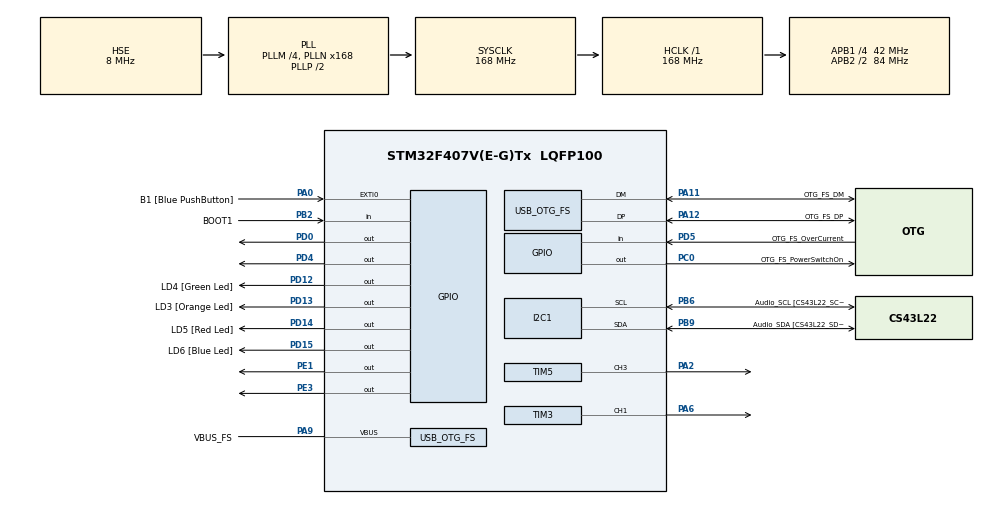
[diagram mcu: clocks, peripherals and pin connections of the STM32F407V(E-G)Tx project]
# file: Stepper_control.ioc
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Mcu.Family=STM32F4
Mcu.Name=STM32F407V(E-G)Tx
Mcu.Package=LQFP100
NVIC.OTG_FS_IRQn=true\:0\:0\:false\:false\:true\:true\:true
NVIC.PriorityGroup=NVIC_PRIORITYGROUP_0
NVIC.TIM1_UP_TIM10_IRQn=true\:0\:0\:false\:false\:true\:true\:true
NVIC.TIM3_IRQn=true\:0\:0\:false\:false\:true\:true\:true
NVIC.TIM5_IRQn=true\:0\:0\:false\:false\:true\:true\:true
PA0-WKUP.GPIO_Label=B1 [Blue PushButton]
PA0-WKUP.GPIO_ModeDefaultEXTI=GPIO_MODE_EVT_RISING
PA0-WKUP.GPIO_PuPd=GPIO_NOPULL
PA0-WKUP.Signal=GPXTI0
PA10.GPIO_Label=OTG_FS_ID
PA10.GPIO_Mode=GPIO_MODE_AF_PP
PA10.GPIO_PuPd=GPIO_NOPULL
PA10.GPIO_Speed=GPIO_SPEED_FREQ_LOW
PA10.Signal=USB_OTG_FS_ID
PA11.GPIO_Label=OTG_FS_DM
PA11.GPIO_Mode=GPIO_MODE_AF_PP
PA11.GPIO_PuPd=GPIO_NOPULL
PA11.GPIO_Speed=GPIO_SPEED_FREQ_LOW
PA11.Mode=Host_Only
PA11.Signal=USB_OTG_FS_DM
PA12.GPIO_Label=OTG_FS_DP
PA12.GPIO_Mode=GPIO_MODE_AF_PP
PA12.GPIO_PuPd=GPIO_NOPULL
PA12.GPIO_Speed=GPIO_SPEED_FREQ_LOW
PA12.Mode=Host_Only
PA12.Signal=USB_OTG_FS_DP
PA13.GPIO_Label=SWDIO
PA13.Mode=Serial_Wire
PA13.Signal=SYS_JTMS-SWDIO
PA14.GPIO_Label=SWCLK
PA14.Mode=Serial_Wire
PA14.Signal=SYS_JTCK-SWCLK
PA2.Signal=S_TIM5_CH3
PA4.GPIO_Label=I2S3_WS [CS43L22_LRCK]
PA4.GPIO_Mode=GPIO_MODE_AF_PP
PA4.GPIO_PuPd=GPIO_NOPULL
PA4.GPIO_Speed=GPIO_SPEED_FREQ_LOW
PA4.Signal=I2S3_WS
PA6.Signal=S_TIM3_CH1
PA9.GPIO_Label=VBUS_FS
PA9.GPIO_Mode=GPIO_MODE_INPUT
PA9.GPIO_PuPd=GPIO_NOPULL
PA9.Mode=Activate_VBUS
PA9.Signal=USB_OTG_FS_VBUS
PB10.GPIO_Label=CLK_IN [MP45DT02_CLK]
PB10.GPIO_Mode=GPIO_MODE_AF_PP
PB10.GPIO_PuPd=GPIO_NOPULL
PB10.GPIO_Speed=GPIO_SPEED_FREQ_LOW
PB10.Signal=I2S2_CK
PB2.GPIO_Label=BOOT1
PB2.GPIO_Mode=GPIO_MODE_INPUT
PB2.GPIO_PuPd=GPIO_NOPULL
PB2.Signal=GPIO_Input
PB3.GPIO_Label=SWO
PB3.Signal=SYS_JTDO-SWO
PB6.GPIO_Label=Audio_SCL [CS43L22_SCL]
PB6.GPIO_Mode=GPIO_MODE_AF_OD
PB6.GPIO_PuPd=GPIO_NOPULL
PB6.GPIO_Speed=GPIO_SPEED_FREQ_LOW
PB6.Mode=I2C
PB6.Signal=I2C1_SCL
PB9.GPIO_Label=Audio_SDA [CS43L22_SDA]
PB9.GPIO_Mode=GPIO_MODE_AF_OD
PB9.GPIO_PuPd=GPIO_NOPULL
PB9.GPIO_Speed=GPIO_SPEED_FREQ_LOW
PB9.Mode=I2C
PB9.Signal=I2C1_SDA
PC0.GPIO_Label=OTG_FS_PowerSwitchOn
PC0.GPIO_PuPd=GPIO_NOPULL
PC0.GPIO_Speed=GPIO_SPEED_FREQ_LOW
PC0.PinState=GPIO_PIN_SET
PC0.Signal=GPIO_Output
PC10.GPIO_Label=I2S3_SCK [CS43L22_SCLK]
PC10.GPIO_Mode=GPIO_MODE_AF_PP
PC10.GPIO_PuPd=GPIO_NOPULL
PC10.GPIO_Speed=GPIO_SPEED_FREQ_LOW
PC10.Signal=I2S3_CK
PC12.GPIO_Label=I2S3_SD [CS43L22_SDIN]
PC12.GPIO_Mode=GPIO_MODE_AF_PP
PC12.GPIO_PuPd=GPIO_NOPULL
PC12.GPIO_Speed=GPIO_SPEED_FREQ_LOW
PC12.Signal=I2S3_SD
PC14-OSC32_IN.GPIO_Label=PC14-OSC32_IN
PC14-OSC32_IN.Mode=LSE-External-Oscillator
PC14-OSC32_IN.Signal=RCC_OSC32_IN
PC15-OSC32_OUT.GPIO_Label=PC15-OSC32_OUT
PC15-OSC32_OUT.Mode=LSE-External-Oscillator
PC15-OSC32_OUT.Signal=RCC_OSC32_OUT
PC3.GPIO_Label=PDM_OUT [MP45DT02_DOUT]
PC3.GPIO_Mode=GPIO_MODE_AF_PP
PC3.GPIO_PuPd=GPIO_NOPULL
PC3.GPIO_Speed=GPIO_SPEED_FREQ_LOW
PC3.Signal=I2S2_SD
PC7.GPIO_Label=I2S3_MCK [CS43L22_MCLK]
PC7.GPIO_Mode=GPIO_MODE_AF_PP
PC7.GPIO_PuPd=GPIO_NOPULL
PC7.GPIO_Speed=GPIO_SPEED_FREQ_LOW
PC7.Signal=I2S3_MCK
PD0.Signal=GPIO_Output
PD12.GPIO_Label=LD4 [Green Led]
PD12.GPIO_PuPd=GPIO_NOPULL
PD12.GPIO_Speed=GPIO_SPEED_FREQ_LOW
PD12.Signal=GPIO_Output
PD13.GPIO_Label=LD3 [Orange Led]
PD13.GPIO_PuPd=GPIO_NOPULL
PD13.GPIO_Speed=GPIO_SPEED_FREQ_LOW
PD13.Signal=GPIO_Output
PD14.GPIO_Label=LD5 [Red Led]
PD14.GPIO_PuPd=GPIO_NOPULL
PD14.GPIO_Speed=GPIO_SPEED_FREQ_LOW
PD14.Signal=GPIO_Output
PD15.GPIO_Label=LD6 [Blue Led]
PD15.GPIO_PuPd=GPIO_NOPULL
PD15.GPIO_Speed=GPIO_SPEED_FREQ_LOW
PD15.Signal=GPIO_Output
PD4.Signal=GPIO_Output
PD5.GPIO_Label=OTG_FS_OverCurrent
PD5.GPIO_Mode=GPIO_MODE_INPUT
PD5.GPIO_PuPd=GPIO_NOPULL
PD5.Signal=GPIO_Input
PE1.Signal=GPIO_Output
PE3.Signal=GPIO_Output
PH0-OSC_IN.GPIO_Label=PH0-OSC_IN
PH0-OSC_IN.Mode=HSE-External-Oscillator
PH0-OSC_IN.Signal=RCC_OSC_IN
PH1-OSC_OUT.GPIO_Label=PH1-OSC_OUT
PH1-OSC_OUT.Mode=HSE-External-Oscillator
PH1-OSC_OUT.Signal=RCC_OSC_OUT
ProjectManager.HeapSize=0x200
ProjectManager.StackSize=0x400
ProjectManager.TargetToolchain=STM32CubeIDE
RCC.48MHZClocksFreq_Value=48000000
RCC.AHBFreq_Value=168000000
RCC.APB1CLKDivider=RCC_HCLK_DIV4
RCC.APB1Freq_Value=42000000
RCC.APB1TimFreq_Value=84000000
RCC.APB2CLKDivider=RCC_HCLK_DIV2
RCC.APB2Freq_Value=84000000
RCC.APB2TimFreq_Value=168000000
RCC.CortexFreq_Value=168000000
RCC.HCLKFreq_Value=168000000
RCC.HSE_VALUE=8000000
RCC.HSI_VALUE=16000000
RCC.PLLI2SN=50
RCC.PLLM=4
RCC.PLLN=168
RCC.PLLQ=7
RCC.SYSCLKFreq_VALUE=168000000
RCC.SYSCLKSource=RCC_SYSCLKSOURCE_PLLCLK
RCC.VCOOutputFreq_Value=336000000
SH.S_TIM3_CH1.0=TIM3_CH1,PWM Generation1 CH1
SH.S_TIM5_CH3.0=TIM5_CH3,PWM Generation3 CH3
TIM1.Period=1000
TIM1.Prescaler=83
TIM3.Channel-PWM\ Generation1\ CH1=TIM_CHANNEL_1
TIM5.Channel-PWM\ Generation3\ CH3=TIM_CHANNEL_3
TIM5.Period=1000
TIM5.Prescaler=83
USB_HOST.BSP.number=1
USB_HOST.USBH_HandleTypeDef-CDC_FS=hUsbHostFS
USB_HOST.VirtualModeFS=Cdc
USB_HOST0.BSP.STBoard=false
USB_HOST0.BSP.api=Unknown
USB_HOST0.BSP.i2caddr=0
USB_HOST0.BSP.i2creg=0
USB_HOST0.BSP.instance=PC0
USB_HOST0.BSP.ip=GPIO
USB_HOST0.BSP.mode=Output
USB_HOST0.BSP.name=Drive_VBUS_FS
USB_HOST0.BSP.solution=PC0
USB_OTG_FS.VirtualMode=Host_Only
USB_OTG_FS.phy_itface=HCD_PHY_EMBEDDED
VP_TIM1_VS_ClockSourceINT.Mode=Internal
VP_USB_HOST_VS_USB_HOST_CDC_FS.Mode=CDC_FS
board=STM32F407G-DISC1

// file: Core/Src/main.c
/* USER CODE BEGIN Header */
/**
  ******************************************************************************
  * @file           : main.c
  * @brief          : Main program body
  ******************************************************************************
  * @attention
  *
  * <h2><center>&copy; Copyright (c) 2020 STMicroelectronics.
  * All rights reserved.</center></h2>
  *
  * This software component is licensed by ST under Ultimate Liberty license
  * SLA0044, the "License"; You may not use this file except in compliance with
  * the License. You may obtain a copy of the License at:
  *                             www.st.com/SLA0044
  *
  ******************************************************************************
  */
/* USER CODE END Header */
#include "main.h"
#include "usb_host.h"

I2C_HandleTypeDef hi2c1;

TIM_HandleTypeDef htim1;
TIM_HandleTypeDef htim3;
TIM_HandleTypeDef htim5;

void SystemClock_Config(void);
static void MX_GPIO_Init(void);
static void MX_I2C1_Init(void);
static void MX_TIM3_Init(void);
static void MX_TIM5_Init(void);
static void MX_TIM1_Init(void);
void MX_USB_HOST_Process(void);

/* USER CODE BEGIN 0 */
TIM_OC_InitTypeDef pwmConfig;

void Trap(uint32_t t_amax, uint32_t t_vmax){
	    HAL_GPIO_WritePin(GPIOE, GPIO_PIN_3, GPIO_PIN_SET);//start the step driver
	    HAL_GPIO_WritePin(GPIOE, GPIO_PIN_1, GPIO_PIN_SET);//Clock wise rotation
	    for(int i = 1000; i > 100; i -= 10){
			htim5.Instance->CNT = 0;
			__HAL_TIM_SET_COMPARE(&htim5, TIM_CHANNEL_3, i);
			__HAL_TIM_SET_AUTORELOAD(&htim5, 2*i);
			HAL_Delay(20);
	    }

	    HAL_Delay(t_vmax);

	    for(int i = 100; i < 1000; i += 10){
			htim5.Instance->CNT = 0;
			__HAL_TIM_SET_COMPARE(&htim5, TIM_CHANNEL_3, i);
			__HAL_TIM_SET_AUTORELOAD(&htim5, 2*i);
			HAL_Delay(20);
	    }
}
volatile uint32_t step_count1 = 0;

uint32_t trap_s1 = 250;
uint32_t trap_s2 = 9750;
uint32_t trap_s3 = 10000;

uint32_t a_max = 1;
uint32_t v_max = 50;
volatile uint32_t v_step1 = 1000;
/* USER CODE END 0 */

int main(void)
{

  /* MCU Configuration--------------------------------------------------------*/

  /* Reset of all peripherals, Initializes the Flash interface and the Systick. */
  HAL_Init();

  /* Configure the system clock */
  SystemClock_Config();

  /* Initialize all configured peripherals */
  MX_GPIO_Init();
  MX_I2C1_Init();
  MX_USB_HOST_Init();
  MX_TIM3_Init();
  MX_TIM5_Init();
  MX_TIM1_Init();
  /* USER CODE BEGIN 2 */
  HAL_TIM_PWM_Start_IT(&htim5,TIM_CHANNEL_3);
  HAL_TIM_Base_Start_IT(&htim1);
//  uint32_t PERIOD_VALUE = 1000;
//  pwmConfig.OCMode       = TIM_OCMODE_PWM1;
//  pwmConfig.OCPolarity   = TIM_OCPOLARITY_HIGH;
//  pwmConfig.OCFastMode   = TIM_OCFAST_DISABLE;
//  pwmConfig.OCNPolarity  = TIM_OCNPOLARITY_HIGH;
//  pwmConfig.OCNIdleState = TIM_OCNIDLESTATE_RESET;
//
//  pwmConfig.OCIdleState  = TIM_OCIDLESTATE_RESET;
//  pwmConfig.Pulse = (uint32_t)(PERIOD_VALUE/2);
//
//
//  HAL_TIM_PWM_ConfigChannel(&htim5, &pwmConfig, TIM_CHANNEL_3);
//  HAL_TIM_PWM_Start(&htim5,TIM_CHANNEL_3);
//  __HAL_TIM_SET_COMPARE(&htim5, TIM_CHANNEL_3, 1000);
//  __HAL_TIM_SET_AUTORELOAD(&htim5, 2000);
//  HAL_GPIO_WritePin(GPIOE, GPIO_PIN_3, GPIO_PIN_SET);//start the step driver
//  HAL_GPIO_WritePin(GPIOE, GPIO_PIN_1, GPIO_PIN_SET);//Clock wise rotation
//
//
//  HAL_Delay(1600);
//  HAL_TIM_PWM_Stop(&htim5,TIM_CHANNEL_3);
//  htim5.Instance->ARR = 500;

  /* USER CODE END 2 */

  /* Infinite loop */
  while (1)
  {
    MX_USB_HOST_Process();

    /* USER CODE BEGIN 3 */

    HAL_GPIO_WritePin(GPIOE, GPIO_PIN_3, GPIO_PIN_SET);//start the step driver
    step_count1 = 0;
 	    HAL_GPIO_WritePin(GPIOE, GPIO_PIN_1, GPIO_PIN_SET);//Clock wise rotation

 		htim5.Instance->CNT = 0;
 		__HAL_TIM_SET_COMPARE(&htim5, TIM_CHANNEL_3, v_step1);
 		__HAL_TIM_SET_AUTORELOAD(&htim5, 2*v_step1);

 	    HAL_Delay(1);

//
//    HAL_GPIO_WritePin(GPIOE, GPIO_PIN_1, GPIO_PIN_SET);//Clock wise rotation
//
//
//    HAL_Delay(3200);
//    HAL_TIM_PWM_Stop(&htim5,TIM_CHANNEL_3);
//    		for(int i=1;i<=2000;i++){  //Moving stepper motor forward
//    			HAL_GPIO_WritePin(GPIOA, GPIO_PIN_2, GPIO_PIN_SET);
//    			HAL_Delay(1);
//    			HAL_GPIO_WritePin(GPIOA, GPIO_PIN_2, GPIO_PIN_RESET);
//    			HAL_Delay(1);
//    		}
//    htim5.Instance->CNT = 0;
//    __HAL_TIM_SET_COMPARE(&htim5, TIM_CHANNEL_3, 27);
//    __HAL_TIM_SET_AUTORELOAD(&htim5, 55);
//    	HAL_GPIO_WritePin(GPIOE, GPIO_PIN_1, GPIO_PIN_RESET);//Anti clock wise rotation
//
//    	HAL_Delay(2000);

  }
  /* USER CODE END 3 */
}

void SystemClock_Config(void)
{
  RCC_OscInitTypeDef RCC_OscInitStruct = {0};
  RCC_ClkInitTypeDef RCC_ClkInitStruct = {0};

  /** Configure the main internal regulator output voltage
  */
  __HAL_RCC_PWR_CLK_ENABLE();
  __HAL_PWR_VOLTAGESCALING_CONFIG(PWR_REGULATOR_VOLTAGE_SCALE1);
  /** Initializes the RCC Oscillators according to the specified parameters
  * in the RCC_OscInitTypeDef structure.
  */
  RCC_OscInitStruct.OscillatorType = RCC_OSCILLATORTYPE_HSE;
  RCC_OscInitStruct.HSEState = RCC_HSE_ON;
  RCC_OscInitStruct.PLL.PLLState = RCC_PLL_ON;
  RCC_OscInitStruct.PLL.PLLSource = RCC_PLLSOURCE_HSE;
  RCC_OscInitStruct.PLL.PLLM = 4;
  RCC_OscInitStruct.PLL.PLLN = 168;
  RCC_OscInitStruct.PLL.PLLP = RCC_PLLP_DIV2;
  RCC_OscInitStruct.PLL.PLLQ = 7;
  if (HAL_RCC_OscConfig(&RCC_OscInitStruct) != HAL_OK)
  {
    Error_Handler();
  }
  /** Initializes the CPU, AHB and APB buses clocks
  */
  RCC_ClkInitStruct.ClockType = RCC_CLOCKTYPE_HCLK|RCC_CLOCKTYPE_SYSCLK
                              |RCC_CLOCKTYPE_PCLK1|RCC_CLOCKTYPE_PCLK2;
  RCC_ClkInitStruct.SYSCLKSource = RCC_SYSCLKSOURCE_PLLCLK;
  RCC_ClkInitStruct.AHBCLKDivider = RCC_SYSCLK_DIV1;
  RCC_ClkInitStruct.APB1CLKDivider = RCC_HCLK_DIV4;
  RCC_ClkInitStruct.APB2CLKDivider = RCC_HCLK_DIV2;

  if (HAL_RCC_ClockConfig(&RCC_ClkInitStruct, FLASH_LATENCY_5) != HAL_OK)
  {
    Error_Handler();
  }
}

static void MX_I2C1_Init(void)
{

  hi2c1.Instance = I2C1;
  hi2c1.Init.ClockSpeed = 100000;
  hi2c1.Init.DutyCycle = I2C_DUTYCYCLE_2;
  hi2c1.Init.OwnAddress1 = 0;
  hi2c1.Init.AddressingMode = I2C_ADDRESSINGMODE_7BIT;
  hi2c1.Init.DualAddressMode = I2C_DUALADDRESS_DISABLE;
  hi2c1.Init.OwnAddress2 = 0;
  hi2c1.Init.GeneralCallMode = I2C_GENERALCALL_DISABLE;
  hi2c1.Init.NoStretchMode = I2C_NOSTRETCH_DISABLE;
  if (HAL_I2C_Init(&hi2c1) != HAL_OK)
  {
    Error_Handler();
  }

}

static void MX_TIM1_Init(void)
{

  TIM_ClockConfigTypeDef sClockSourceConfig = {0};
  TIM_MasterConfigTypeDef sMasterConfig = {0};

  htim1.Instance = TIM1;
  htim1.Init.Prescaler = 83;
  htim1.Init.CounterMode = TIM_COUNTERMODE_UP;
  htim1.Init.Period = 1000;
  htim1.Init.ClockDivision = TIM_CLOCKDIVISION_DIV1;
  htim1.Init.RepetitionCounter = 0;
  htim1.Init.AutoReloadPreload = TIM_AUTORELOAD_PRELOAD_DISABLE;
  if (HAL_TIM_Base_Init(&htim1) != HAL_OK)
  {
    Error_Handler();
  }
  sClockSourceConfig.ClockSource = TIM_CLOCKSOURCE_INTERNAL;
  if (HAL_TIM_ConfigClockSource(&htim1, &sClockSourceConfig) != HAL_OK)
  {
    Error_Handler();
  }
  sMasterConfig.MasterOutputTrigger = TIM_TRGO_RESET;
  sMasterConfig.MasterSlaveMode = TIM_MASTERSLAVEMODE_DISABLE;
  if (HAL_TIMEx_MasterConfigSynchronization(&htim1, &sMasterConfig) != HAL_OK)
  {
    Error_Handler();
  }

}

static void MX_TIM3_Init(void)
{

  TIM_MasterConfigTypeDef sMasterConfig = {0};
  TIM_OC_InitTypeDef sConfigOC = {0};

  htim3.Instance = TIM3;
  htim3.Init.Prescaler = 0;
  htim3.Init.CounterMode = TIM_COUNTERMODE_UP;
  htim3.Init.Period = 65535;
  htim3.Init.ClockDivision = TIM_CLOCKDIVISION_DIV1;
  htim3.Init.AutoReloadPreload = TIM_AUTORELOAD_PRELOAD_DISABLE;
  if (HAL_TIM_PWM_Init(&htim3) != HAL_OK)
  {
    Error_Handler();
  }
  sMasterConfig.MasterOutputTrigger = TIM_TRGO_RESET;
  sMasterConfig.MasterSlaveMode = TIM_MASTERSLAVEMODE_DISABLE;
  if (HAL_TIMEx_MasterConfigSynchronization(&htim3, &sMasterConfig) != HAL_OK)
  {
    Error_Handler();
  }
  sConfigOC.OCMode = TIM_OCMODE_PWM1;
  sConfigOC.Pulse = 0;
  sConfigOC.OCPolarity = TIM_OCPOLARITY_HIGH;
  sConfigOC.OCFastMode = TIM_OCFAST_DISABLE;
  if (HAL_TIM_PWM_ConfigChannel(&htim3, &sConfigOC, TIM_CHANNEL_1) != HAL_OK)
  {
    Error_Handler();
  }
  HAL_TIM_MspPostInit(&htim3);

}

static void MX_TIM5_Init(void)
{

  TIM_MasterConfigTypeDef sMasterConfig = {0};
  TIM_OC_InitTypeDef sConfigOC = {0};

  htim5.Instance = TIM5;
  htim5.Init.Prescaler = 83;
  htim5.Init.CounterMode = TIM_COUNTERMODE_UP;
  htim5.Init.Period = 1000;
  htim5.Init.ClockDivision = TIM_CLOCKDIVISION_DIV1;
  htim5.Init.AutoReloadPreload = TIM_AUTORELOAD_PRELOAD_DISABLE;
  if (HAL_TIM_PWM_Init(&htim5) != HAL_OK)
  {
    Error_Handler();
  }
  sMasterConfig.MasterOutputTrigger = TIM_TRGO_RESET;
  sMasterConfig.MasterSlaveMode = TIM_MASTERSLAVEMODE_DISABLE;
  if (HAL_TIMEx_MasterConfigSynchronization(&htim5, &sMasterConfig) != HAL_OK)
  {
    Error_Handler();
  }
  sConfigOC.OCMode = TIM_OCMODE_PWM1;
  sConfigOC.Pulse = 0;
  sConfigOC.OCPolarity = TIM_OCPOLARITY_HIGH;
  sConfigOC.OCFastMode = TIM_OCFAST_DISABLE;
  if (HAL_TIM_PWM_ConfigChannel(&htim5, &sConfigOC, TIM_CHANNEL_3) != HAL_OK)
  {
    Error_Handler();
  }
  HAL_TIM_MspPostInit(&htim5);

}

static void MX_GPIO_Init(void)
{
  GPIO_InitTypeDef GPIO_InitStruct = {0};

  /* GPIO Ports Clock Enable */
  __HAL_RCC_GPIOE_CLK_ENABLE();
  __HAL_RCC_GPIOC_CLK_ENABLE();
  __HAL_RCC_GPIOH_CLK_ENABLE();
  __HAL_RCC_GPIOA_CLK_ENABLE();
  __HAL_RCC_GPIOB_CLK_ENABLE();
  __HAL_RCC_GPIOD_CLK_ENABLE();

  /*Configure GPIO pin Output Level */
  HAL_GPIO_WritePin(GPIOE, GPIO_PIN_3|GPIO_PIN_1, GPIO_PIN_RESET);

  /*Configure GPIO pin Output Level */
  HAL_GPIO_WritePin(OTG_FS_PowerSwitchOn_GPIO_Port, OTG_FS_PowerSwitchOn_Pin, GPIO_PIN_SET);

  /*Configure GPIO pin Output Level */
  HAL_GPIO_WritePin(GPIOD, LD4_Pin|LD3_Pin|LD5_Pin|LD6_Pin
                          |GPIO_PIN_0|GPIO_PIN_4, GPIO_PIN_RESET);

  /*Configure GPIO pins : PE3 PE1 */
  GPIO_InitStruct.Pin = GPIO_PIN_3|GPIO_PIN_1;
  GPIO_InitStruct.Mode = GPIO_MODE_OUTPUT_PP;
  GPIO_InitStruct.Pull = GPIO_NOPULL;
  GPIO_InitStruct.Speed = GPIO_SPEED_FREQ_LOW;
  HAL_GPIO_Init(GPIOE, &GPIO_InitStruct);

  /*Configure GPIO pin : OTG_FS_PowerSwitchOn_Pin */
  GPIO_InitStruct.Pin = OTG_FS_PowerSwitchOn_Pin;
  GPIO_InitStruct.Mode = GPIO_MODE_OUTPUT_PP;
  GPIO_InitStruct.Pull = GPIO_NOPULL;
  GPIO_InitStruct.Speed = GPIO_SPEED_FREQ_LOW;
  HAL_GPIO_Init(OTG_FS_PowerSwitchOn_GPIO_Port, &GPIO_InitStruct);

  /*Configure GPIO pin : PDM_OUT_Pin */
  GPIO_InitStruct.Pin = PDM_OUT_Pin;
  GPIO_InitStruct.Mode = GPIO_MODE_AF_PP;
  GPIO_InitStruct.Pull = GPIO_NOPULL;
  GPIO_InitStruct.Speed = GPIO_SPEED_FREQ_LOW;
  GPIO_InitStruct.Alternate = GPIO_AF5_SPI2;
  HAL_GPIO_Init(PDM_OUT_GPIO_Port, &GPIO_InitStruct);

  /*Configure GPIO pin : B1_Pin */
  GPIO_InitStruct.Pin = B1_Pin;
  GPIO_InitStruct.Mode = GPIO_MODE_EVT_RISING;
  GPIO_InitStruct.Pull = GPIO_NOPULL;
  HAL_GPIO_Init(B1_GPIO_Port, &GPIO_InitStruct);

  /*Configure GPIO pin : I2S3_WS_Pin */
  GPIO_InitStruct.Pin = I2S3_WS_Pin;
  GPIO_InitStruct.Mode = GPIO_MODE_AF_PP;
  GPIO_InitStruct.Pull = GPIO_NOPULL;
  GPIO_InitStruct.Speed = GPIO_SPEED_FREQ_LOW;
  GPIO_InitStruct.Alternate = GPIO_AF6_SPI3;
  HAL_GPIO_Init(I2S3_WS_GPIO_Port, &GPIO_InitStruct);

  /*Configure GPIO pin : BOOT1_Pin */
  GPIO_InitStruct.Pin = BOOT1_Pin;
  GPIO_InitStruct.Mode = GPIO_MODE_INPUT;
  GPIO_InitStruct.Pull = GPIO_NOPULL;
  HAL_GPIO_Init(BOOT1_GPIO_Port, &GPIO_InitStruct);

  /*Configure GPIO pin : CLK_IN_Pin */
  GPIO_InitStruct.Pin = CLK_IN_Pin;
  GPIO_InitStruct.Mode = GPIO_MODE_AF_PP;
  GPIO_InitStruct.Pull = GPIO_NOPULL;
  GPIO_InitStruct.Speed = GPIO_SPEED_FREQ_LOW;
  GPIO_InitStruct.Alternate = GPIO_AF5_SPI2;
  HAL_GPIO_Init(CLK_IN_GPIO_Port, &GPIO_InitStruct);

  /*Configure GPIO pins : LD4_Pin LD3_Pin LD5_Pin LD6_Pin
                           PD0 PD4 */
  GPIO_InitStruct.Pin = LD4_Pin|LD3_Pin|LD5_Pin|LD6_Pin
                          |GPIO_PIN_0|GPIO_PIN_4;
  GPIO_InitStruct.Mode = GPIO_MODE_OUTPUT_PP;
  GPIO_InitStruct.Pull = GPIO_NOPULL;
  GPIO_InitStruct.Speed = GPIO_SPEED_FREQ_LOW;
  HAL_GPIO_Init(GPIOD, &GPIO_InitStruct);

  /*Configure GPIO pins : I2S3_MCK_Pin I2S3_SCK_Pin I2S3_SD_Pin */
  GPIO_InitStruct.Pin = I2S3_MCK_Pin|I2S3_SCK_Pin|I2S3_SD_Pin;
  GPIO_InitStruct.Mode = GPIO_MODE_AF_PP;
  GPIO_InitStruct.Pull = GPIO_NOPULL;
  GPIO_InitStruct.Speed = GPIO_SPEED_FREQ_LOW;
  GPIO_InitStruct.Alternate = GPIO_AF6_SPI3;
  HAL_GPIO_Init(GPIOC, &GPIO_InitStruct);

  /*Configure GPIO pin : OTG_FS_OverCurrent_Pin */
  GPIO_InitStruct.Pin = OTG_FS_OverCurrent_Pin;
  GPIO_InitStruct.Mode = GPIO_MODE_INPUT;
  GPIO_InitStruct.Pull = GPIO_NOPULL;
  HAL_GPIO_Init(OTG_FS_OverCurrent_GPIO_Port, &GPIO_InitStruct);

}

/* USER CODE BEGIN 4 */
void HAL_TIM_PWM_PulseFinishedCallback(TIM_HandleTypeDef *htim5)
{
	step_count1 ++;
}

void HAL_TIM_PeriodElapsedCallback(TIM_HandleTypeDef *htim1){
 if(step_count1 < 10000){
    if(step_count1 < trap_s1){
        v_step1 -= a_max;
    }

    if((step_count1 > trap_s1) & (step_count1 < trap_s2)){
        v_step1 = 50;
    }
    if(step_count1 > trap_s2){
        v_step1 += a_max;
    }
 }
 else{
	 if(step_count1 == 10000){
		 HAL_TIM_PWM_Stop_IT(&htim5,TIM_CHANNEL_3);
	 }
 }
}
/* USER CODE END 4 */

void Error_Handler(void)
{
}

/************************ (C) COPYRIGHT STMicroelectronics *****END OF FILE****/
